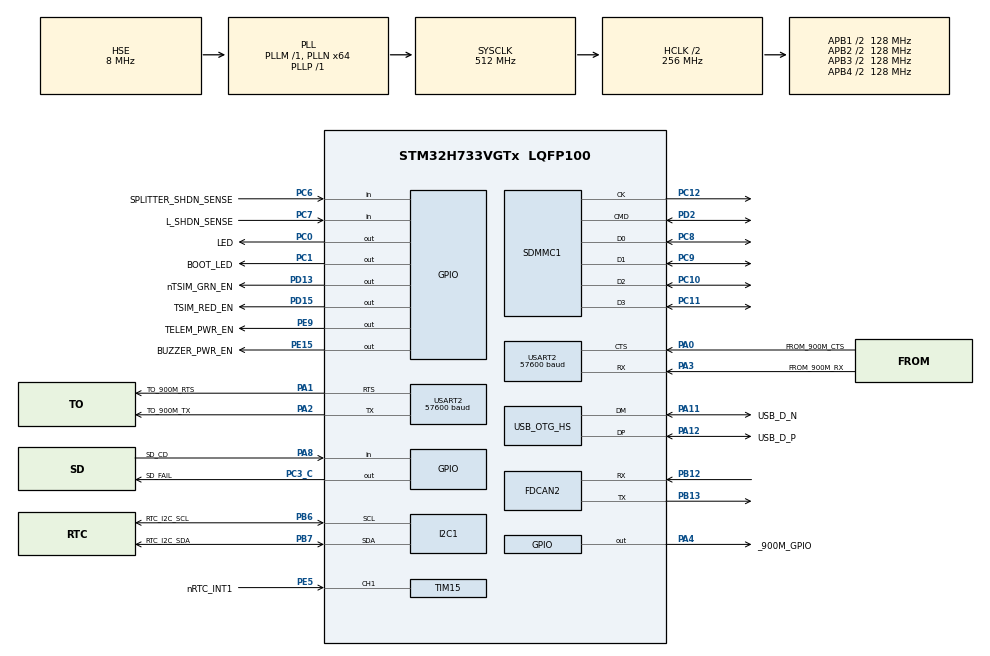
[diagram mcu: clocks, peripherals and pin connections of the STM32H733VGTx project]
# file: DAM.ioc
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CORTEX_M7.CPU_DCache=Disabled
CORTEX_M7.CPU_ICache=Disabled
CORTEX_M7.default_mode_Activation=0
CRC.InputDataInversionMode=CRC_INPUTDATA_INVERSION_BYTE
CRC.OutputDataInversionMode=CRC_OUTPUTDATA_INVERSION_ENABLE
FDCAN2.AutoRetransmission=ENABLE
FDCAN2.CalculateBaudRateNominal=1000000
FDCAN2.CalculateTimeBitNominal=1000
FDCAN2.CalculateTimeQuantumNominal=62.5
FDCAN2.DataPrescaler=3
FDCAN2.DataSyncJumpWidth=2
FDCAN2.DataTimeSeg1=5
FDCAN2.DataTimeSeg2=2
FDCAN2.ExtFiltersNbr=1
FDCAN2.FrameFormat=FDCAN_FRAME_FD_NO_BRS
FDCAN2.NominalPrescaler=6
FDCAN2.NominalSyncJumpWidth=2
FDCAN2.NominalTimeSeg1=13
FDCAN2.NominalTimeSeg2=2
FDCAN2.RxBufferSize=FDCAN_DATA_BYTES_64
FDCAN2.RxFifo0ElmtSize=FDCAN_DATA_BYTES_64
FDCAN2.RxFifo0ElmtsNbr=32
FDCAN2.RxFifo1ElmtSize=FDCAN_DATA_BYTES_64
FDCAN2.RxFifo1ElmtsNbr=0
FDCAN2.StdFiltersNbr=1
FDCAN2.TxElmtSize=FDCAN_DATA_BYTES_64
FDCAN2.TxFifoQueueElmtsNbr=32
FREERTOS.Tasks01=Task100Hz,40,8096,RunTask100Hz,Default,NULL,Static,Task100HzBuffer,Task100HzControlBlock;TaskCanTx,16,512,RunCanTxTask,Default,NULL,Static,canTxTaskBuffer,canTxTaskControlBlock;TaskCanRx,16,512,RunCanRxTask,Default,NULL,Static,canRxTaskBuffer,canRxTaskControlBlock;Task1kHz,48,512,RunTask1kHz,Default,NULL,Static,Task1kHzBuffer,Task1kHzControlBlock;Task1Hz,32,512,RunTask1Hz,Default,NULL,Static,Task1HzBuffer,Task1HzControlBlock;TaskLogging,24,1024,RunTaskLogging,Default,NULL,Static,TaskLoggingBuffer,TaskLoggingControlBlock;TaskTelem,8,512,RunTaskTelem,Default,NULL,Static,TaskTelemBuffer,TaskTelemControlBlock;TaskTelemRx,8,512,RunTaskTelemRx,Default,NULL,Static,TaskTelemRxBuffer,TaskTelemRxControlBlock
I2C1.Timing=0x20A0C4DF
IWDG1.Reload=LSI_FREQUENCY / IWDG_PRESCALER / IWDG_RESET_FREQUENCY
Mcu.Family=STM32H7
Mcu.Name=STM32H733VGTx
Mcu.Package=LQFP100
Mcu.UserConstants=IWDG_RESET_FREQUENCY,5;IWDG_PRESCALER,4;LSI_FREQUENCY,32000
NVIC.FDCAN2_IT0_IRQn=true\:5\:0\:false\:false\:true\:true\:true\:true\:true
NVIC.FDCAN2_IT1_IRQn=true\:5\:0\:false\:false\:true\:true\:true\:true\:true
NVIC.I2C1_ER_IRQn=true\:5\:0\:false\:false\:true\:true\:true\:true\:true
NVIC.I2C1_EV_IRQn=true\:5\:0\:false\:false\:true\:true\:true\:true\:true
NVIC.OTG_HS_IRQn=true\:5\:0\:false\:false\:true\:true\:false\:true\:true
NVIC.PriorityGroup=NVIC_PRIORITYGROUP_4
NVIC.TIM2_IRQn=true\:15\:0\:false\:false\:true\:false\:false\:true\:true
NVIC.TimeBase=TIM2_IRQn
NVIC.TimeBaseIP=TIM2
NVIC.USART2_IRQn=true\:5\:0\:false\:false\:true\:true\:true\:true\:true
PA0.GPIO_Label=FROM_900M_CTS
PA0.Mode=CTS_RTS
PA0.Signal=USART2_CTS
PA1.GPIO_Label=TO_900M_RTS
PA1.Mode=CTS_RTS
PA1.Signal=USART2_RTS
PA11.GPIO_Label=USB_D_N
PA11.Mode=Device_Only_FS
PA11.Signal=USB_OTG_HS_DM
PA12.GPIO_Label=USB_D_P
PA12.Mode=Device_Only_FS
PA12.Signal=USB_OTG_HS_DP
PA13(JTMS/SWDIO).GPIO_Label=SWDIO
PA13(JTMS/SWDIO).Mode=Trace_Asynchronous_SW
PA13(JTMS/SWDIO).Signal=DEBUG_JTMS-SWDIO
PA14(JTCK/SWCLK).GPIO_Label=SWCLK
PA14(JTCK/SWCLK).Mode=Trace_Asynchronous_SW
PA14(JTCK/SWCLK).Signal=DEBUG_JTCK-SWCLK
PA2.GPIO_Label=TO_900M_TX
PA2.Mode=Asynchronous
PA2.Signal=USART2_TX
PA3.GPIO_Label=FROM_900M_RX
PA3.Mode=Asynchronous
PA3.Signal=USART2_RX
PA4.GPIO_Label=_900M_GPIO
PA4.Signal=GPIO_Output
PA8.GPIO_Label=SD_CD
PA8.Signal=GPIO_Input
PB12.Mode=FDCAN_Activate
PB12.Signal=FDCAN2_RX
PB13.Mode=FDCAN_Activate
PB13.Signal=FDCAN2_TX
PB3(JTDO/TRACESWO).GPIO_Label=SWO
PB3(JTDO/TRACESWO).Mode=Trace_Asynchronous_SW
PB3(JTDO/TRACESWO).Signal=DEBUG_JTDO-SWO
PB6.GPIO_Label=RTC_I2C_SCL
PB6.Mode=I2C
PB6.Signal=I2C1_SCL
PB7.GPIO_Label=RTC_I2C_SDA
PB7.Mode=I2C
PB7.Signal=I2C1_SDA
PC0.GPIO_Label=LED
PC0.Signal=GPIO_Output
PC1.GPIO_Label=BOOT_LED
PC1.Signal=GPIO_Output
PC10.Mode=SD_4_bits_Wide_bus
PC10.Signal=SDMMC1_D2
PC11.Mode=SD_4_bits_Wide_bus
PC11.Signal=SDMMC1_D3
PC12.Mode=SD_4_bits_Wide_bus
PC12.Signal=SDMMC1_CK
PC3_C.GPIO_Label=SD_FAIL
PC3_C.Signal=GPIO_Output
PC6.GPIO_Label=SPLITTER_SHDN_SENSE
PC6.Signal=GPIO_Input
PC7.GPIO_Label=L_SHDN_SENSE
PC7.Signal=GPIO_Input
PC8.Mode=SD_4_bits_Wide_bus
PC8.Signal=SDMMC1_D0
PC9.Mode=SD_4_bits_Wide_bus
PC9.Signal=SDMMC1_D1
PD13.GPIO_Label=nTSIM_GRN_EN
PD13.PinState=GPIO_PIN_SET
PD13.Signal=GPIO_Output
PD15.GPIO_Label=TSIM_RED_EN
PD15.PinState=GPIO_PIN_RESET
PD15.Signal=GPIO_Output
PD2.Mode=SD_4_bits_Wide_bus
PD2.Signal=SDMMC1_CMD
PE15.GPIO_Label=BUZZER_PWR_EN
PE15.Signal=GPIO_Output
PE5.GPIO_Label=nRTC_INT1
PE5.Signal=S_TIM15_CH1
PE9.GPIO_Label=TELEM_PWR_EN
PE9.Signal=GPIO_Output
PH0-OSC_IN.Mode=HSE-External-Oscillator
PH0-OSC_IN.Signal=RCC_OSC_IN
PH1-OSC_OUT.Mode=HSE-External-Oscillator
PH1-OSC_OUT.Signal=RCC_OSC_OUT
ProjectManager.HeapSize=0x200
ProjectManager.StackSize=0x400
ProjectManager.TargetToolchain=STM32CubeIDE
RCC.ADCFreq_Value=96000000
RCC.APB1Freq_Value=128000000
RCC.APB2Freq_Value=128000000
RCC.APB3Freq_Value=128000000
RCC.APB4Freq_Value=128000000
RCC.CortexFreq_Value=512000000
RCC.D1PPRE=RCC_APB3_DIV2
RCC.D2PPRE1=RCC_APB1_DIV2
RCC.D2PPRE2=RCC_APB2_DIV2
RCC.D3PPRE=RCC_APB4_DIV2
RCC.DIVM1=1
RCC.DIVM2=1
RCC.DIVM3=8
RCC.DIVN1=64
RCC.DIVN2=24
RCC.DIVN3=194
RCC.DIVP1=1
RCC.DIVQ1=4
RCC.FDCANCLockSelection=RCC_FDCANCLKSOURCE_PLL2
RCC.HCLKFreq_Value=256000000
RCC.HPRE=RCC_HCLK_DIV2
RCC.HSE_VALUE=8000000
RCC.PLL3FRACN=0
RCC.PLLFRACN=0
RCC.PLLSourceVirtual=RCC_PLLSOURCE_HSE
RCC.SYSCLKFreq_VALUE=512000000
RCC.SYSCLKSource=RCC_SYSCLKSOURCE_PLLCLK
RCC.USBCLockSelection=RCC_USBCLKSOURCE_PLL3
RCC.USBFreq_Value=97000000
SDMMC1.ClockDiv=9
SDMMC1.HardwareFlowControl=SDMMC_HARDWARE_FLOW_CONTROL_ENABLE
SH.S_TIM15_CH1.0=TIM15_CH1,Input_Capture1_from_TI1
TIM15.Channel-Input_Capture1_from_TI1=TIM_CHANNEL_1
USART2.BaudRate=57600
USART2.VirtualMode-Asynchronous=VM_ASYNC
USB_DEVICE.CLASS_NAME_HS=CDC
USB_DEVICE.MANUFACTURER_STRING=ubc_formula_electric
USB_DEVICE.PRODUCT_STRING_CDC_HS=dam
USB_DEVICE.VirtualMode=Cdc
USB_DEVICE.VirtualModeHS=Cdc_HS
USB_OTG_HS.VirtualMode-Device_Only_FS=Device_Only_FS
VP_CRC_VS_CRC.Mode=CRC_Activate
VP_FREERTOS_VS_CMSIS_V2.Mode=CMSIS_V2
VP_IWDG1_VS_IWDG.Mode=IWDG_Activate
VP_MEMORYMAP_VS_MEMORYMAP.Mode=CurAppReg
VP_SYS_VS_tim2.Mode=TIM2
VP_USB_DEVICE_VS_USB_DEVICE_CDC_HS.Mode=CDC_HS
board=custom

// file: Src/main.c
/* USER CODE BEGIN Header */
/**
 ******************************************************************************
 * @file           : main.c
 * @brief          : Main program body
 ******************************************************************************
 * @attention
 *
 * Copyright (c) 2024 STMicroelectronics.
 * All rights reserved.
 *
 * This software is licensed under terms that can be found in the LICENSE file
 * in the root directory of this software component.
 * If no LICENSE file comes with this software, it is provided AS-IS.
 *
 ******************************************************************************
 */
/* USER CODE END Header */
#include "main.h"
#include "cmsis_os.h"
#include "usb_device.h"

/* USER CODE BEGIN Includes */
#include "tasks.h"
#include "hw_error.h"
#include "io_log.h"
#include "hw_sd.h"
/* USER CODE END Includes */

typedef StaticTask_t osStaticThreadDef_t;

CRC_HandleTypeDef hcrc;

FDCAN_HandleTypeDef hfdcan2;

I2C_HandleTypeDef hi2c1;

IWDG_HandleTypeDef hiwdg1;

SD_HandleTypeDef hsd1;

TIM_HandleTypeDef htim15;

UART_HandleTypeDef huart2;

/* Definitions for Task100Hz */
osThreadId_t         Task100HzHandle;
uint32_t             Task100HzBuffer[8096];
osStaticThreadDef_t  Task100HzControlBlock;
const osThreadAttr_t Task100Hz_attributes = {
    .name       = "Task100Hz",
    .cb_mem     = &Task100HzControlBlock,
    .cb_size    = sizeof(Task100HzControlBlock),
    .stack_mem  = &Task100HzBuffer[0],
    .stack_size = sizeof(Task100HzBuffer),
    .priority   = (osPriority_t)osPriorityHigh,
};
/* Definitions for TaskCanTx */
osThreadId_t         TaskCanTxHandle;
uint32_t             canTxTaskBuffer[512];
osStaticThreadDef_t  canTxTaskControlBlock;
const osThreadAttr_t TaskCanTx_attributes = {
    .name       = "TaskCanTx",
    .cb_mem     = &canTxTaskControlBlock,
    .cb_size    = sizeof(canTxTaskControlBlock),
    .stack_mem  = &canTxTaskBuffer[0],
    .stack_size = sizeof(canTxTaskBuffer),
    .priority   = (osPriority_t)osPriorityBelowNormal,
};
/* Definitions for TaskCanRx */
osThreadId_t         TaskCanRxHandle;
uint32_t             canRxTaskBuffer[512];
osStaticThreadDef_t  canRxTaskControlBlock;
const osThreadAttr_t TaskCanRx_attributes = {
    .name       = "TaskCanRx",
    .cb_mem     = &canRxTaskControlBlock,
    .cb_size    = sizeof(canRxTaskControlBlock),
    .stack_mem  = &canRxTaskBuffer[0],
    .stack_size = sizeof(canRxTaskBuffer),
    .priority   = (osPriority_t)osPriorityBelowNormal,
};
/* Definitions for Task1kHz */
osThreadId_t         Task1kHzHandle;
uint32_t             Task1kHzBuffer[512];
osStaticThreadDef_t  Task1kHzControlBlock;
const osThreadAttr_t Task1kHz_attributes = {
    .name       = "Task1kHz",
    .cb_mem     = &Task1kHzControlBlock,
    .cb_size    = sizeof(Task1kHzControlBlock),
    .stack_mem  = &Task1kHzBuffer[0],
    .stack_size = sizeof(Task1kHzBuffer),
    .priority   = (osPriority_t)osPriorityRealtime,
};
/* Definitions for Task1Hz */
osThreadId_t         Task1HzHandle;
uint32_t             Task1HzBuffer[512];
osStaticThreadDef_t  Task1HzControlBlock;
const osThreadAttr_t Task1Hz_attributes = {
    .name       = "Task1Hz",
    .cb_mem     = &Task1HzControlBlock,
    .cb_size    = sizeof(Task1HzControlBlock),
    .stack_mem  = &Task1HzBuffer[0],
    .stack_size = sizeof(Task1HzBuffer),
    .priority   = (osPriority_t)osPriorityAboveNormal,
};
/* Definitions for TaskLogging */
osThreadId_t         TaskLoggingHandle;
uint32_t             TaskLoggingBuffer[1024];
osStaticThreadDef_t  TaskLoggingControlBlock;
const osThreadAttr_t TaskLogging_attributes = {
    .name       = "TaskLogging",
    .cb_mem     = &TaskLoggingControlBlock,
    .cb_size    = sizeof(TaskLoggingControlBlock),
    .stack_mem  = &TaskLoggingBuffer[0],
    .stack_size = sizeof(TaskLoggingBuffer),
    .priority   = (osPriority_t)osPriorityNormal,
};
/* Definitions for TaskTelem */
osThreadId_t         TaskTelemHandle;
uint32_t             TaskTelemBuffer[512];
osStaticThreadDef_t  TaskTelemControlBlock;
const osThreadAttr_t TaskTelem_attributes = {
    .name       = "TaskTelem",
    .cb_mem     = &TaskTelemControlBlock,
    .cb_size    = sizeof(TaskTelemControlBlock),
    .stack_mem  = &TaskTelemBuffer[0],
    .stack_size = sizeof(TaskTelemBuffer),
    .priority   = (osPriority_t)osPriorityLow,
};
/* Definitions for TaskTelemRx */
osThreadId_t         TaskTelemRxHandle;
uint32_t             TaskTelemRxBuffer[512];
osStaticThreadDef_t  TaskTelemRxControlBlock;
const osThreadAttr_t TaskTelemRx_attributes = {
    .name       = "TaskTelemRx",
    .cb_mem     = &TaskTelemRxControlBlock,
    .cb_size    = sizeof(TaskTelemRxControlBlock),
    .stack_mem  = &TaskTelemRxBuffer[0],
    .stack_size = sizeof(TaskTelemRxBuffer),
    .priority   = (osPriority_t)osPriorityLow,
};

void        SystemClock_Config(void);
static void MX_GPIO_Init(void);
static void MX_SDMMC1_SD_Init(void);
static void MX_FDCAN2_Init(void);
static void MX_USART2_UART_Init(void);
static void MX_I2C1_Init(void);
static void MX_TIM15_Init(void);
static void MX_IWDG1_Init(void);
static void MX_CRC_Init(void);
void        RunTask100Hz(void *argument);
void        RunCanTxTask(void *argument);
void        RunCanRxTask(void *argument);
void        RunTask1kHz(void *argument);
void        RunTask1Hz(void *argument);
void        RunTaskLogging(void *argument);
void        RunTaskTelem(void *argument);
void        RunTaskTelemRx(void *argument);

int main(void)
{
    /* USER CODE BEGIN 1 */
    tasks_preInit();
    /* USER CODE END 1 */

    /* MCU Configuration--------------------------------------------------------*/

    /* Reset of all peripherals, Initializes the Flash interface and the Systick. */
    HAL_Init();

    /* Configure the system clock */
    SystemClock_Config();

    /* Initialize all configured peripherals */
    MX_GPIO_Init();
    MX_SDMMC1_SD_Init();
    MX_FDCAN2_Init();
    MX_USART2_UART_Init();
    MX_I2C1_Init();
    MX_TIM15_Init();
    MX_IWDG1_Init();
    MX_CRC_Init();

    /* Init scheduler */
    osKernelInitialize();

    /* USER CODE BEGIN RTOS_QUEUES */

    tasks_init();
    /* USER CODE END RTOS_QUEUES */

    /* Create the thread(s) */
    /* creation of Task100Hz */
    Task100HzHandle = osThreadNew(RunTask100Hz, NULL, &Task100Hz_attributes);

    /* creation of TaskCanTx */
    TaskCanTxHandle = osThreadNew(RunCanTxTask, NULL, &TaskCanTx_attributes);

    /* creation of TaskCanRx */
    TaskCanRxHandle = osThreadNew(RunCanRxTask, NULL, &TaskCanRx_attributes);

    /* creation of Task1kHz */
    Task1kHzHandle = osThreadNew(RunTask1kHz, NULL, &Task1kHz_attributes);

    /* creation of Task1Hz */
    Task1HzHandle = osThreadNew(RunTask1Hz, NULL, &Task1Hz_attributes);

    /* creation of TaskLogging */
    TaskLoggingHandle = osThreadNew(RunTaskLogging, NULL, &TaskLogging_attributes);

    /* creation of TaskTelem */
    TaskTelemHandle = osThreadNew(RunTaskTelem, NULL, &TaskTelem_attributes);

    /* creation of TaskTelemRx */
    TaskTelemRxHandle = osThreadNew(RunTaskTelemRx, NULL, &TaskTelemRx_attributes);

    /* Start scheduler */
    osKernelStart();

    /* We should never get here as control is now taken by the scheduler */

    /* Infinite loop */
    while (1)
    {

    }
}

void SystemClock_Config(void)
{
    RCC_OscInitTypeDef RCC_OscInitStruct = { 0 };
    RCC_ClkInitTypeDef RCC_ClkInitStruct = { 0 };

    /** Supply configuration update enable
     */
    HAL_PWREx_ConfigSupply(PWR_LDO_SUPPLY);

    /** Configure the main internal regulator output voltage
     */
    __HAL_PWR_VOLTAGESCALING_CONFIG(PWR_REGULATOR_VOLTAGE_SCALE0);

    while (!__HAL_PWR_GET_FLAG(PWR_FLAG_VOSRDY))
    {
    }

    /** Initializes the RCC Oscillators according to the specified parameters
     * in the RCC_OscInitTypeDef structure.
     */
    RCC_OscInitStruct.OscillatorType = RCC_OSCILLATORTYPE_LSI | RCC_OSCILLATORTYPE_HSE;
    RCC_OscInitStruct.HSEState       = RCC_HSE_ON;
    RCC_OscInitStruct.LSIState       = RCC_LSI_ON;
    RCC_OscInitStruct.PLL.PLLState   = RCC_PLL_ON;
    RCC_OscInitStruct.PLL.PLLSource  = RCC_PLLSOURCE_HSE;
    RCC_OscInitStruct.PLL.PLLM       = 1;
    RCC_OscInitStruct.PLL.PLLN       = 64;
    RCC_OscInitStruct.PLL.PLLP       = 1;
    RCC_OscInitStruct.PLL.PLLQ       = 4;
    RCC_OscInitStruct.PLL.PLLR       = 2;
    RCC_OscInitStruct.PLL.PLLRGE     = RCC_PLL1VCIRANGE_3;
    RCC_OscInitStruct.PLL.PLLVCOSEL  = RCC_PLL1VCOWIDE;
    RCC_OscInitStruct.PLL.PLLFRACN   = 0;
    if (HAL_RCC_OscConfig(&RCC_OscInitStruct) != HAL_OK)
    {
        Error_Handler();
    }

    /** Initializes the CPU, AHB and APB buses clocks
     */
    RCC_ClkInitStruct.ClockType = RCC_CLOCKTYPE_HCLK | RCC_CLOCKTYPE_SYSCLK | RCC_CLOCKTYPE_PCLK1 |
                                  RCC_CLOCKTYPE_PCLK2 | RCC_CLOCKTYPE_D3PCLK1 | RCC_CLOCKTYPE_D1PCLK1;
    RCC_ClkInitStruct.SYSCLKSource   = RCC_SYSCLKSOURCE_PLLCLK;
    RCC_ClkInitStruct.SYSCLKDivider  = RCC_SYSCLK_DIV1;
    RCC_ClkInitStruct.AHBCLKDivider  = RCC_HCLK_DIV2;
    RCC_ClkInitStruct.APB3CLKDivider = RCC_APB3_DIV2;
    RCC_ClkInitStruct.APB1CLKDivider = RCC_APB1_DIV2;
    RCC_ClkInitStruct.APB2CLKDivider = RCC_APB2_DIV2;
    RCC_ClkInitStruct.APB4CLKDivider = RCC_APB4_DIV2;

    if (HAL_RCC_ClockConfig(&RCC_ClkInitStruct, FLASH_LATENCY_3) != HAL_OK)
    {
        Error_Handler();
    }
}

static void MX_CRC_Init(void)
{

    hcrc.Instance                     = CRC;
    hcrc.Init.DefaultPolynomialUse    = DEFAULT_POLYNOMIAL_ENABLE;
    hcrc.Init.DefaultInitValueUse     = DEFAULT_INIT_VALUE_ENABLE;
    hcrc.Init.InputDataInversionMode  = CRC_INPUTDATA_INVERSION_BYTE;
    hcrc.Init.OutputDataInversionMode = CRC_OUTPUTDATA_INVERSION_ENABLE;
    hcrc.InputDataFormat              = CRC_INPUTDATA_FORMAT_BYTES;
    if (HAL_CRC_Init(&hcrc) != HAL_OK)
    {
        Error_Handler();
    }
}

static void MX_FDCAN2_Init(void)
{

    hfdcan2.Instance                  = FDCAN2;
    hfdcan2.Init.FrameFormat          = FDCAN_FRAME_FD_NO_BRS;
    hfdcan2.Init.Mode                 = FDCAN_MODE_NORMAL;
    hfdcan2.Init.AutoRetransmission   = ENABLE;
    hfdcan2.Init.TransmitPause        = DISABLE;
    hfdcan2.Init.ProtocolException    = DISABLE;
    hfdcan2.Init.NominalPrescaler     = 6;
    hfdcan2.Init.NominalSyncJumpWidth = 2;
    hfdcan2.Init.NominalTimeSeg1      = 13;
    hfdcan2.Init.NominalTimeSeg2      = 2;
    hfdcan2.Init.DataPrescaler        = 3;
    hfdcan2.Init.DataSyncJumpWidth    = 2;
    hfdcan2.Init.DataTimeSeg1         = 5;
    hfdcan2.Init.DataTimeSeg2         = 2;
    hfdcan2.Init.MessageRAMOffset     = 0;
    hfdcan2.Init.StdFiltersNbr        = 1;
    hfdcan2.Init.ExtFiltersNbr        = 1;
    hfdcan2.Init.RxFifo0ElmtsNbr      = 32;
    hfdcan2.Init.RxFifo0ElmtSize      = FDCAN_DATA_BYTES_64;
    hfdcan2.Init.RxFifo1ElmtsNbr      = 0;
    hfdcan2.Init.RxFifo1ElmtSize      = FDCAN_DATA_BYTES_64;
    hfdcan2.Init.RxBuffersNbr         = 0;
    hfdcan2.Init.RxBufferSize         = FDCAN_DATA_BYTES_64;
    hfdcan2.Init.TxEventsNbr          = 0;
    hfdcan2.Init.TxBuffersNbr         = 0;
    hfdcan2.Init.TxFifoQueueElmtsNbr  = 32;
    hfdcan2.Init.TxFifoQueueMode      = FDCAN_TX_FIFO_OPERATION;
    hfdcan2.Init.TxElmtSize           = FDCAN_DATA_BYTES_64;
    if (HAL_FDCAN_Init(&hfdcan2) != HAL_OK)
    {
        Error_Handler();
    }
}

static void MX_I2C1_Init(void)
{

    hi2c1.Instance              = I2C1;
    hi2c1.Init.Timing           = 0x20A0C4DF;
    hi2c1.Init.OwnAddress1      = 0;
    hi2c1.Init.AddressingMode   = I2C_ADDRESSINGMODE_7BIT;
    hi2c1.Init.DualAddressMode  = I2C_DUALADDRESS_DISABLE;
    hi2c1.Init.OwnAddress2      = 0;
    hi2c1.Init.OwnAddress2Masks = I2C_OA2_NOMASK;
    hi2c1.Init.GeneralCallMode  = I2C_GENERALCALL_DISABLE;
    hi2c1.Init.NoStretchMode    = I2C_NOSTRETCH_DISABLE;
    if (HAL_I2C_Init(&hi2c1) != HAL_OK)
    {
        Error_Handler();
    }

    /** Configure Analogue filter
     */
    if (HAL_I2CEx_ConfigAnalogFilter(&hi2c1, I2C_ANALOGFILTER_ENABLE) != HAL_OK)
    {
        Error_Handler();
    }

    /** Configure Digital filter
     */
    if (HAL_I2CEx_ConfigDigitalFilter(&hi2c1, 0) != HAL_OK)
    {
        Error_Handler();
    }
}

static void MX_IWDG1_Init(void)
{
    /* USER CODE BEGIN IWDG1_Init 0 */
    tasks_preInitWatchdog();
#ifndef WATCHDOG_DISABLED
    /* USER CODE END IWDG1_Init 0 */

    hiwdg1.Instance       = IWDG1;
    hiwdg1.Init.Prescaler = IWDG_PRESCALER_4;
    hiwdg1.Init.Window    = 4095;
    hiwdg1.Init.Reload    = LSI_FREQUENCY / IWDG_PRESCALER / IWDG_RESET_FREQUENCY;
    if (HAL_IWDG_Init(&hiwdg1) != HAL_OK)
    {
        Error_Handler();
    }
    /* USER CODE BEGIN IWDG1_Init 2 */
#endif
    /* USER CODE END IWDG1_Init 2 */
}

static void MX_SDMMC1_SD_Init(void)
{
    /* USER CODE BEGIN SDMMC1_Init 0 */
    if (!hw_sd_present())
    {
        return;
    }
    /* USER CODE END SDMMC1_Init 0 */

    hsd1.Instance                 = SDMMC1;
    hsd1.Init.ClockEdge           = SDMMC_CLOCK_EDGE_RISING;
    hsd1.Init.ClockPowerSave      = SDMMC_CLOCK_POWER_SAVE_DISABLE;
    hsd1.Init.BusWide             = SDMMC_BUS_WIDE_4B;
    hsd1.Init.HardwareFlowControl = SDMMC_HARDWARE_FLOW_CONTROL_ENABLE;
    hsd1.Init.ClockDiv            = 9;
    if (HAL_SD_Init(&hsd1) != HAL_OK)
    {
        Error_Handler();
    }
}

static void MX_TIM15_Init(void)
{

    TIM_MasterConfigTypeDef sMasterConfig = { 0 };
    TIM_IC_InitTypeDef      sConfigIC     = { 0 };

    htim15.Instance               = TIM15;
    htim15.Init.Prescaler         = 0;
    htim15.Init.CounterMode       = TIM_COUNTERMODE_UP;
    htim15.Init.Period            = 65535;
    htim15.Init.ClockDivision     = TIM_CLOCKDIVISION_DIV1;
    htim15.Init.RepetitionCounter = 0;
    htim15.Init.AutoReloadPreload = TIM_AUTORELOAD_PRELOAD_DISABLE;
    if (HAL_TIM_IC_Init(&htim15) != HAL_OK)
    {
        Error_Handler();
    }
    sMasterConfig.MasterOutputTrigger = TIM_TRGO_RESET;
    sMasterConfig.MasterSlaveMode     = TIM_MASTERSLAVEMODE_DISABLE;
    if (HAL_TIMEx_MasterConfigSynchronization(&htim15, &sMasterConfig) != HAL_OK)
    {
        Error_Handler();
    }
    sConfigIC.ICPolarity  = TIM_INPUTCHANNELPOLARITY_RISING;
    sConfigIC.ICSelection = TIM_ICSELECTION_DIRECTTI;
    sConfigIC.ICPrescaler = TIM_ICPSC_DIV1;
    sConfigIC.ICFilter    = 0;
    if (HAL_TIM_IC_ConfigChannel(&htim15, &sConfigIC, TIM_CHANNEL_1) != HAL_OK)
    {
        Error_Handler();
    }
}

static void MX_USART2_UART_Init(void)
{

    huart2.Instance                    = USART2;
    huart2.Init.BaudRate               = 57600;
    huart2.Init.WordLength             = UART_WORDLENGTH_8B;
    huart2.Init.StopBits               = UART_STOPBITS_1;
    huart2.Init.Parity                 = UART_PARITY_NONE;
    huart2.Init.Mode                   = UART_MODE_TX_RX;
    huart2.Init.HwFlowCtl              = UART_HWCONTROL_RTS_CTS;
    huart2.Init.OverSampling           = UART_OVERSAMPLING_16;
    huart2.Init.OneBitSampling         = UART_ONE_BIT_SAMPLE_DISABLE;
    huart2.Init.ClockPrescaler         = UART_PRESCALER_DIV1;
    huart2.AdvancedInit.AdvFeatureInit = UART_ADVFEATURE_NO_INIT;
    if (HAL_UART_Init(&huart2) != HAL_OK)
    {
        Error_Handler();
    }
    if (HAL_UARTEx_SetTxFifoThreshold(&huart2, UART_TXFIFO_THRESHOLD_1_8) != HAL_OK)
    {
        Error_Handler();
    }
    if (HAL_UARTEx_SetRxFifoThreshold(&huart2, UART_RXFIFO_THRESHOLD_1_8) != HAL_OK)
    {
        Error_Handler();
    }
    if (HAL_UARTEx_DisableFifoMode(&huart2) != HAL_OK)
    {
        Error_Handler();
    }
}

static void MX_GPIO_Init(void)
{
    GPIO_InitTypeDef GPIO_InitStruct = { 0 };

    /* GPIO Ports Clock Enable */
    __HAL_RCC_GPIOE_CLK_ENABLE();
    __HAL_RCC_GPIOH_CLK_ENABLE();
    __HAL_RCC_GPIOC_CLK_ENABLE();
    __HAL_RCC_GPIOA_CLK_ENABLE();
    __HAL_RCC_GPIOB_CLK_ENABLE();
    __HAL_RCC_GPIOD_CLK_ENABLE();

    /*Configure GPIO pin Output Level */
    HAL_GPIO_WritePin(GPIOC, LED_Pin | BOOT_LED_Pin | SD_FAIL_Pin, GPIO_PIN_RESET);

    /*Configure GPIO pin Output Level */
    HAL_GPIO_WritePin(_900M_GPIO_GPIO_Port, _900M_GPIO_Pin, GPIO_PIN_RESET);

    /*Configure GPIO pin Output Level */
    HAL_GPIO_WritePin(GPIOE, TELEM_PWR_EN_Pin | BUZZER_PWR_EN_Pin, GPIO_PIN_RESET);

    /*Configure GPIO pin Output Level */
    HAL_GPIO_WritePin(nTSIM_GRN_EN_GPIO_Port, nTSIM_GRN_EN_Pin, GPIO_PIN_SET);

    /*Configure GPIO pin Output Level */
    HAL_GPIO_WritePin(TSIM_RED_EN_GPIO_Port, TSIM_RED_EN_Pin, GPIO_PIN_RESET);

    /*Configure GPIO pins : LED_Pin BOOT_LED_Pin SD_FAIL_Pin */
    GPIO_InitStruct.Pin   = LED_Pin | BOOT_LED_Pin | SD_FAIL_Pin;
    GPIO_InitStruct.Mode  = GPIO_MODE_OUTPUT_PP;
    GPIO_InitStruct.Pull  = GPIO_NOPULL;
    GPIO_InitStruct.Speed = GPIO_SPEED_FREQ_LOW;
    HAL_GPIO_Init(GPIOC, &GPIO_InitStruct);

    /*Configure GPIO pin : _900M_GPIO_Pin */
    GPIO_InitStruct.Pin   = _900M_GPIO_Pin;
    GPIO_InitStruct.Mode  = GPIO_MODE_OUTPUT_PP;
    GPIO_InitStruct.Pull  = GPIO_NOPULL;
    GPIO_InitStruct.Speed = GPIO_SPEED_FREQ_LOW;
    HAL_GPIO_Init(_900M_GPIO_GPIO_Port, &GPIO_InitStruct);

    /*Configure GPIO pins : TELEM_PWR_EN_Pin BUZZER_PWR_EN_Pin */
    GPIO_InitStruct.Pin   = TELEM_PWR_EN_Pin | BUZZER_PWR_EN_Pin;
    GPIO_InitStruct.Mode  = GPIO_MODE_OUTPUT_PP;
    GPIO_InitStruct.Pull  = GPIO_NOPULL;
    GPIO_InitStruct.Speed = GPIO_SPEED_FREQ_LOW;
    HAL_GPIO_Init(GPIOE, &GPIO_InitStruct);

    /*Configure GPIO pins : nTSIM_GRN_EN_Pin TSIM_RED_EN_Pin */
    GPIO_InitStruct.Pin   = nTSIM_GRN_EN_Pin | TSIM_RED_EN_Pin;
    GPIO_InitStruct.Mode  = GPIO_MODE_OUTPUT_PP;
    GPIO_InitStruct.Pull  = GPIO_NOPULL;
    GPIO_InitStruct.Speed = GPIO_SPEED_FREQ_LOW;
    HAL_GPIO_Init(GPIOD, &GPIO_InitStruct);

    /*Configure GPIO pins : SPLITTER_SHDN_SENSE_Pin L_SHDN_SENSE_Pin */
    GPIO_InitStruct.Pin  = SPLITTER_SHDN_SENSE_Pin | L_SHDN_SENSE_Pin;
    GPIO_InitStruct.Mode = GPIO_MODE_INPUT;
    GPIO_InitStruct.Pull = GPIO_NOPULL;
    HAL_GPIO_Init(GPIOC, &GPIO_InitStruct);

    /*Configure GPIO pin : SD_CD_Pin */
    GPIO_InitStruct.Pin  = SD_CD_Pin;
    GPIO_InitStruct.Mode = GPIO_MODE_INPUT;
    GPIO_InitStruct.Pull = GPIO_NOPULL;
    HAL_GPIO_Init(SD_CD_GPIO_Port, &GPIO_InitStruct);

}

void RunTask100Hz(void *argument)
{
    /* init code for USB_DEVICE */
    MX_USB_DEVICE_Init();
    /* USER CODE BEGIN 5 */
    /* Infinite loop */
    tasks_run100Hz();
    /* USER CODE END 5 */
}

void RunCanTxTask(void *argument)
{
    /* USER CODE BEGIN RunCanTxTask */
    /* Infinite loop */
    tasks_runCanTx();
    /* USER CODE END RunCanTxTask */
}

void RunCanRxTask(void *argument)
{
    /* USER CODE BEGIN RunCanRxTask */
    /* Infinite loop */
    tasks_runCanRx();
    /* USER CODE END RunCanRxTask */
}

void RunTask1kHz(void *argument)
{
    /* USER CODE BEGIN RunTask1kHz */
    /* Infinite loop */
    tasks_run1kHz();
    /* USER CODE END RunTask1kHz */
}

void RunTask1Hz(void *argument)
{
    /* USER CODE BEGIN RunTask1Hz */
    /* Infinite loop */
    tasks_run1Hz();
    /* USER CODE END RunTask1Hz */
}

void RunTaskLogging(void *argument)
{
    /* USER CODE BEGIN RunTaskLogging */
    /* Infinite loop */
    tasks_runLogging();
    /* USER CODE END RunTaskLogging */
}

void RunTaskTelem(void *argument)
{
    /* USER CODE BEGIN RunTaskTelem */
    /* Infinite loop */
    tasks_runTelem();
    /* USER CODE END RunTaskTelem */
}

void RunTaskTelemRx(void *argument)
{
    /* USER CODE BEGIN RunTaskTelemRx */
    /* Infinite loop */

    tasks_runTelemRx();

    /* USER CODE END RunTaskTelemRx */
}

void HAL_TIM_PeriodElapsedCallback(TIM_HandleTypeDef *htim)
{
    if (htim->Instance == TIM2)
    {
        HAL_IncTick();
    }
}

void Error_Handler(void)
{
    __disable_irq();
    while (1)
    {
    }
}
